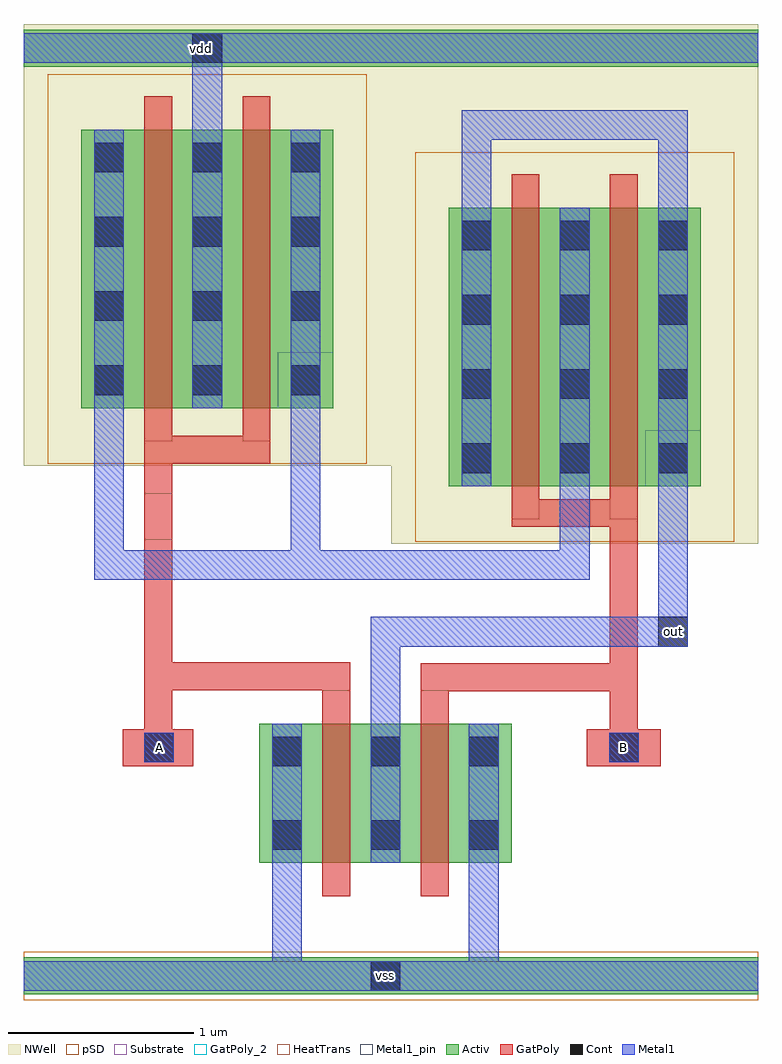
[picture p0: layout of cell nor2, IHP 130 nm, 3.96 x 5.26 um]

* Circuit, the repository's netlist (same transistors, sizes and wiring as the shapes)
* Extracted by KLayout with SG13G2 LVS runset on : 12/03/2026 19:54

.SUBCKT nor2
M$1 \$4 \$1 \$6 \$4 sg13_lv_pmos L=0.15u W=3u AS=1.02p AD=1.02p PS=6.68u
+ PD=6.68u
M$2 \$6 \$2 \$5 \$4 sg13_lv_pmos L=0.15u W=3u AS=1.02p AD=1.02p PS=6.68u
+ PD=6.68u
M$3 \$3 \$1 \$5 \$3 sg13_lv_nmos L=0.15u W=0.75u AS=0.255p AD=0.255p PS=2.18u
+ PD=2.18u
M$4 \$5 \$2 \$3 \$3 sg13_lv_nmos L=0.15u W=0.75u AS=0.255p AD=0.255p PS=2.18u
+ PD=2.18u
.ENDS nor2

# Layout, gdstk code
import gdstk
lib = gdstk.Library(unit=1e-6, precision=5e-09)
def R(c, l, rs):  # rectangles x0, y0, x1, y1
    for r in rs: c.add(gdstk.rectangle(r[:2], r[2:], *l))
def A(c, l, x, y, w, h, nx, ny, dx, dy):  # array of equal rectangles
    R(c, l, [(x+i*dx, y+j*dy, x+i*dx+w, y+j*dy+h) for i in range(nx) for j in range(ny)])
Activ = (1, 0)
GatPoly = (5, 0)
GatPoly_2 = (5, 2)
Cont = (6, 0)
Metal1 = (8, 0)
Metal1_pin = (8, 2)
pSD = (14, 0)
NWell = (31, 0)
Substrate = (40, 0)
HeatTrans = (51, 0)

pmos = lib.new_cell('pmos')
A(pmos, Activ, 0, 0, 0.3, 0.3, 3, 1, 0.53, 0)
R(pmos, Activ, [(0,0,1.36,1.5)])
R(pmos, GatPoly, [(0.34,-0.18,0.49,1.68), (0.34,-0.18,0.49,1.68), (0.87,-0.18,1.02,1.68)])
A(pmos, Cont, 0.07, 0.07, 0.16, 0.16, 3, 4, 0.53, 0.4)
R(pmos, Metal1, [(0.07,0,0.23,1.5), (0.07,0,0.23,1.5), (0.6,0,0.76,1.5), (0.6,0,0.76,1.5), (1.13,0,1.29,1.5)])
R(pmos, pSD, [(-0.18,-0.3,1.54,1.8)])
R(pmos, NWell, [(-0.31,-0.31,1.67,1.81)])
R(pmos, Substrate, [(1.06,0,1.36,0.3)])
R(pmos, HeatTrans, [(0.34,-0.18,0.49,1.68), (0.87,-0.18,1.02,1.68)])
pmos.add(gdstk.Label('pmos', (0.415,0.75), layer=63, texttype=0))
pmos.add(gdstk.Label('pmos', (0.415,0.75), layer=51, texttype=0))
pmos.add(gdstk.Label('pmos', (0.945,0.75), layer=51, texttype=0))

nmos_2 = lib.new_cell('nmos$2')
R(nmos_2, Activ, [(0,0,0.3,0.3), (0,0,0.83,0.75), (0.53,0,0.83,0.3)])
R(nmos_2, GatPoly, [(0.34,-0.18,0.49,0.93)])
R(nmos_2, GatPoly_2, [(0.34,-0.18,0.49,0.93)])
R(nmos_2, Cont, [(0.07,0.07,0.23,0.23), (0.6,0.07,0.76,0.23), (0.07,0.52,0.23,0.68), (0.6,0.52,0.76,0.68)])
R(nmos_2, Metal1, [(0.07,0,0.23,0.75), (0.6,0,0.76,0.75)])
R(nmos_2, Metal1_pin, [(0.07,0,0.23,0.75), (0.6,0,0.76,0.75)])
R(nmos_2, HeatTrans, [(0.34,-0.18,0.49,0.93)])
nmos_2.add(gdstk.Label('nmos', (0.415,0.375), layer=63, texttype=0))
nmos_2.add(gdstk.Label('nmos', (0.415,0.375), layer=51, texttype=0))

nor2 = lib.new_cell('nor2')
R(nor2, Activ, [(-2.34,-0.1,1.62,0.1), (-2.34,4.9,1.62,5.1)])
R(nor2, GatPoly, [(-1.805,1.13,-1.605,1.33), (-1.625,1.13,-1.425,1.33), (0.695,1.13,0.895,1.33), (0.82,1.13,0.97,1.685), (0.895,1.13,1.095,1.33), (-1.69,1.33,-1.54,1.69), (-0.2,1.535,0.97,1.685), (-1.69,1.54,-0.58,1.69), (0.82,1.685,0.97,2.46), (-1.69,1.69,-1.54,2.88), (0.29,2.42,0.97,2.57), (-1.69,2.76,-1.01,2.91)])
R(nor2, GatPoly_2, [(-1.69,2.35,-1.54,2.6)])
R(nor2, Cont, [(-0.47,-0.08,-0.31,0.08), (-1.69,1.15,-1.53,1.31), (0.815,1.15,0.975,1.31), (1.08,1.775,1.24,1.935), (-1.43,4.92,-1.27,5.08)])
R(nor2, Metal1, [(-2.34,-0.08,1.62,0.08), (-0.47,-0.08,-0.31,0.08), (-1,0.08,-0.84,0.84), (0.06,0.08,0.22,0.84), (-0.47,1.13,-0.31,1.775), (-1.69,1.15,-1.53,1.31), (0.815,1.15,0.975,1.31), (-0.47,1.775,1.24,1.935), (1.08,1.935,1.24,2.64), (-1.96,2.135,-1.8,3.29), (-1.96,2.135,0.71,2.295), (-0.9,2.135,-0.74,3.29), (0.55,2.135,0.71,2.87), (0.02,3.905,0.18,4.505), (1.08,3.905,1.24,4.505), (0.02,4.505,1.24,4.665), (-1.43,4.56,-1.27,5.08), (-2.34,4.92,1.62,5.08), (-1.43,4.92,-1.27,5.08)])
R(nor2, Metal1_pin, [(-2.34,-0.08,1.62,0.08), (-0.47,-0.08,-0.31,0.08), (-1.69,1.15,-1.53,1.31), (0.815,1.15,0.975,1.31), (1.08,1.775,1.24,1.935), (-2.34,4.92,-0.08,5.08), (-0.08,4.92,0.08,5.08), (0.08,4.92,1.62,5.08)])
R(nor2, pSD, [(-2.34,-0.13,1.62,0.13)])
R(nor2, NWell, [(-0.36,4.45,1.62,4.87), (-2.34,4.87,1.62,5.13)])
nor2.add(gdstk.Reference(pmos, (-0.05,2.64)))
nor2.add(gdstk.Reference(pmos, (-2.03,3.06)))
nor2.add(gdstk.Reference(pmos, (-2.03,3.06)))
nor2.add(gdstk.Reference(nmos_2, (-1.07,0.61)))
nor2.add(gdstk.Reference(nmos_2, (-0.54,0.61)))
nor2.add(gdstk.Label('vss', (-0.39,0), layer=8, texttype=2))
nor2.add(gdstk.Label('vdd', (-1.38,5), layer=8, texttype=2))
nor2.add(gdstk.Label('A', (-1.61,1.23), layer=8, texttype=2))
nor2.add(gdstk.Label('B', (0.895,1.23), layer=8, texttype=2))
nor2.add(gdstk.Label('out', (1.16,1.855), layer=8, texttype=2))

lib.write_gds('nor2.gds')
